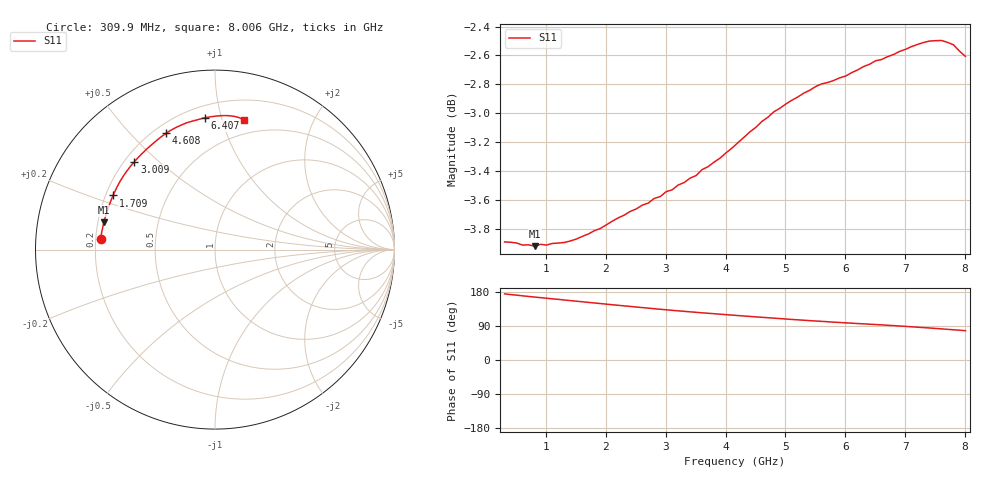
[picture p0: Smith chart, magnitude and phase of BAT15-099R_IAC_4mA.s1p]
! Infineon Technologies  Discrete & RF Semiconductors
! BAT15-099R
! IAC = 4 mA
! One-Port S-Parameters
# Hz  S  MA  R  50
!f  S11
!Hz  Mag  Ang
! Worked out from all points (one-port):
!   78 points, 309.9 MHz to 8.006 GHz, reference 50 ohm
!   lowest |S11| = -3.9 dB at 809.6 MHz (marker M1), VSWR 4.51, Z = 11.2 + j5.78 ohm
!   |S11| at or under -10 dB: nowhere
!   S11 on the Smith chart (normalised r, x): 309.9 MHz: 0.22, +0.05; 1.709 GHz: 0.23, +0.24; 3.009 GHz: 0.24, +0.42; 4.608 GHz: 0.25, +0.64; 6.407 GHz: 0.28, +0.89; 8.006 GHz: 0.37, +1.18
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3.0985e8  0.639 174.4
4.098e8  0.6388 172.6
8.096e8  0.6368 166.1
1.10945e9  0.6382 161.4
1.2094e9  0.6384 160.0
1.30935e9  0.6387 158.3
1.70915e9  0.6431 152.0
2.009e9  0.6477 147.4
2.10895e9  0.6496 145.8
2.30885e9  0.6528 142.8
2.6087e9  0.658 138.3
3.0085e9  0.6651 132.5
3.2084e9  0.6686 129.7
3.6082e9  0.6769 124.5
4.2079e9  0.6916 117.3
4.6077e9  0.7034 112.7
4.8076e9  0.7088 110.4
5.2074e9  0.7172 105.9
5.6072e9  0.7247 102.0
6.007e9  0.7292 98.0
6.10695e9  0.7312 97.2
6.4068e9  0.7361 94.4
6.8066e9  0.7419 90.8
7.10645e9  0.7466 87.6
7.4063e9  0.7499 84.5
7.6062e9  0.7502 82.2
7.8061e9  0.7477 79.7
8.006e9  0.7408 77.4
